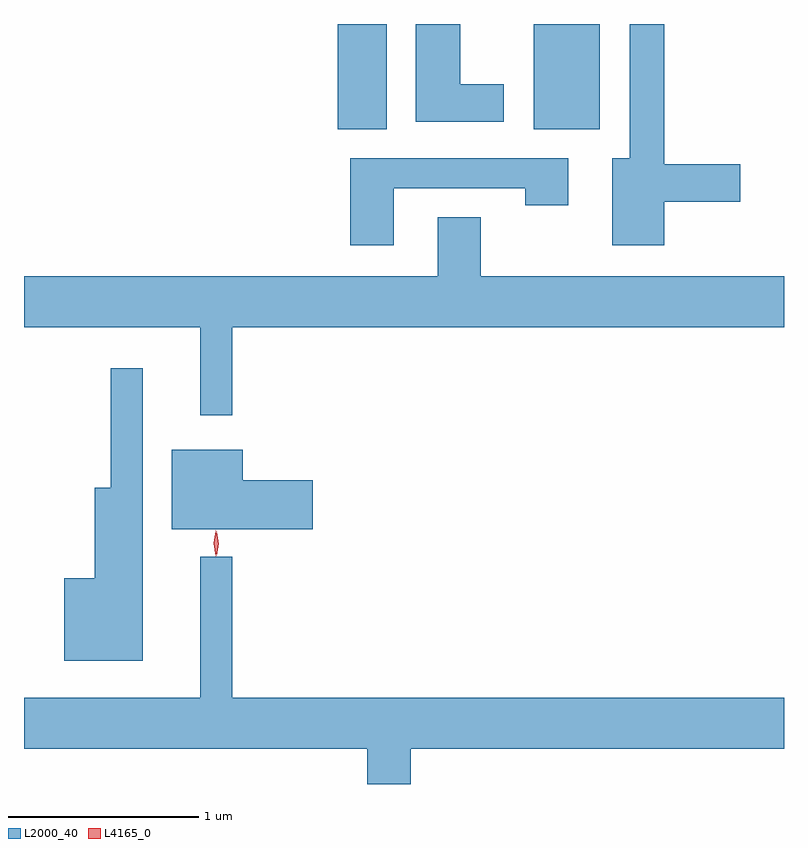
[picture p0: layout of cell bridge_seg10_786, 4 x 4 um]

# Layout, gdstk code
import gdstk
lib = gdstk.Library(unit=1e-6, precision=1e-09)
def R(c, l, rs):  # rectangles x0, y0, x1, y1
    for r in rs: c.add(gdstk.rectangle(r[:2], r[2:], *l))
def P(c, l, *ps):  # polygons
    for p in ps: c.add(gdstk.Polygon(p, *l))
L2000_40 = (2000, 40)
L4165_0 = (4165, 0)

bridge_seg10_786 = lib.new_cell('bridge_seg10_786')
R(bridge_seg10_786, L2000_40, [(611.526,2090.536,611.784,2091.091), (612.556,2090.536,612.904,2091.089)])
P(bridge_seg10_786, L2000_40, [(612.399,2090.774),(612.169,2090.774),(612.169,2091.091),(611.936,2091.091),(611.936,2090.576),(612.399,2090.576)],
  [(613.244,2090.156),(613.644,2090.156),(613.644,2090.354),(613.244,2090.354),(613.244,2091.091),(613.061,2091.091),(613.061,2090.384),(612.971,2090.384),(612.971,2089.926),(613.244,2089.926)],
  [(611.819,2090.226),(612.511,2090.226),(612.511,2090.136),(612.739,2090.136),(612.739,2090.384),(611.591,2090.384),(611.591,2089.926),(611.819,2089.926)],
  [(610.969,2089.496),(613.874,2089.496),(613.874,2089.764),(612.279,2089.764),(612.279,2090.074),(612.051,2090.074),(612.051,2089.764),(609.874,2089.764),(609.874,2089.496),(610.801,2089.496),(610.801,2089.033),(610.969,2089.033)],
  [(610.499,2089.278),(610.331,2089.278),(610.331,2088.649),(610.246,2088.649),(610.246,2088.174),(610.086,2088.174),(610.086,2087.741),(610.499,2087.741)],
  [(611.394,2088.689),(611.024,2088.689),(611.024,2088.849),(610.651,2088.849),(610.651,2088.431),(611.394,2088.431)],
  [(611.909,2087.276),(613.874,2087.276),(613.874,2087.544),(610.969,2087.544),(610.969,2088.288),(610.801,2088.288),(610.801,2087.544),(609.874,2087.544),(609.874,2087.276),(611.681,2087.276),(611.681,2087.091),(611.909,2087.091)])
P(bridge_seg10_786, L4165_0, [(610.888,2088.293),(610.888,2088.294),(610.878,2088.356),(610.888,2088.419),(610.888,2088.42),(610.888,2088.419),(610.898,2088.356),(610.888,2088.294)],
  [(610.882,2088.29),(610.873,2088.358),(610.882,2088.425),(610.882,2088.426),(610.883,2088.425),(610.892,2088.358),(610.884,2088.29),(610.883,2088.29)])

lib.write_gds('bridge_seg10_786.gds')
